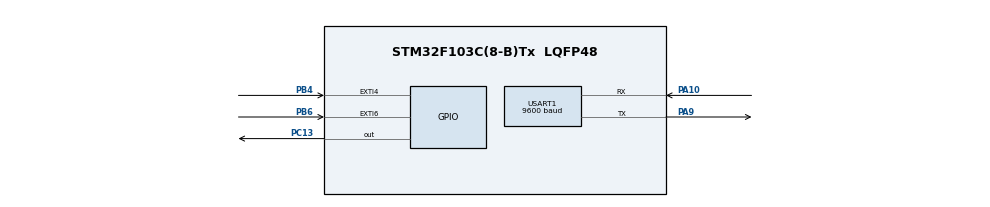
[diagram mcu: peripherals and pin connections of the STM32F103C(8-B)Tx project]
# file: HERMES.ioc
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Mcu.Family=STM32F1
Mcu.Name=STM32F103C(8-B)Tx
Mcu.Package=LQFP48
NVIC.EXTI4_IRQn=true\:0\:0\:false\:true\:true\:3\:true
NVIC.EXTI9_5_IRQn=true\:0\:0\:true\:true\:true\:2\:true
NVIC.PriorityGroup=NVIC_PRIORITYGROUP_4
NVIC.USART1_IRQn=true\:0\:0\:true\:true\:true\:1\:true
PA10.Mode=Asynchronous
PA10.Signal=USART1_RX
PA13.Mode=Serial_Wire
PA13.Signal=SYS_JTMS-SWDIO
PA14.Mode=Serial_Wire
PA14.Signal=SYS_JTCK-SWCLK
PA9.Mode=Asynchronous
PA9.Signal=USART1_TX
PB4.Signal=GPXTI4
PB6.Signal=GPXTI6
PC13-TAMPER-RTC.Signal=GPIO_Output
PD0-OSC_IN.Mode=HSE-External-Oscillator
PD0-OSC_IN.Signal=RCC_OSC_IN
PD1-OSC_OUT.Mode=HSE-External-Oscillator
PD1-OSC_OUT.Signal=RCC_OSC_OUT
ProjectManager.HeapSize=0x200
ProjectManager.StackSize=0x400
ProjectManager.TargetToolchain=TrueSTUDIO
RCC.APB1Freq_Value=8000000
RCC.APB2Freq_Value=8000000
RCC.PLLMUL=RCC_PLL_MUL16
RCC.USBFreq_Value=64000000
USART1.BaudRate=9600
USART1.Mode=MODE_TX
USART1.VirtualMode=VM_ASYNC
board=HERMES

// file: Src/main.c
/**
  ******************************************************************************
  * File Name          : main.c
  * Description        : Main program body
  ******************************************************************************
  ** This notice applies to any and all portions of this file
  * that are not between comment pairs USER CODE BEGIN and
  * USER CODE END. Other portions of this file, whether
  * inserted by the user or by software development tools
  * are owned by their respective copyright owners.
  *
  * COPYRIGHT(c) 2017 STMicroelectronics
  *
  * Redistribution and use in source and binary forms, with or without modification,
  * are permitted provided that the following conditions are met:
  *   1. Redistributions of source code must retain the above copyright notice,
  *      this list of conditions and the following disclaimer.
  *   2. Redistributions in binary form must reproduce the above copyright notice,
  *      this list of conditions and the following disclaimer in the documentation
  *      and/or other materials provided with the distribution.
  *   3. Neither the name of STMicroelectronics nor the names of its contributors
  *      may be used to endorse or promote products derived from this software
  *      without specific prior written permission.
  *
  * THIS SOFTWARE IS PROVIDED BY THE COPYRIGHT HOLDERS AND CONTRIBUTORS "AS IS"
  * AND ANY EXPRESS OR IMPLIED WARRANTIES, INCLUDING, BUT NOT LIMITED TO, THE
  * IMPLIED WARRANTIES OF MERCHANTABILITY AND FITNESS FOR A PARTICULAR PURPOSE ARE
  * DISCLAIMED. IN NO EVENT SHALL THE COPYRIGHT HOLDER OR CONTRIBUTORS BE LIABLE
  * FOR ANY DIRECT, INDIRECT, INCIDENTAL, SPECIAL, EXEMPLARY, OR CONSEQUENTIAL
  * DAMAGES (INCLUDING, BUT NOT LIMITED TO, PROCUREMENT OF SUBSTITUTE GOODS OR
  * SERVICES; LOSS OF USE, DATA, OR PROFITS; OR BUSINESS INTERRUPTION) HOWEVER
  * CAUSED AND ON ANY THEORY OF LIABILITY, WHETHER IN CONTRACT, STRICT LIABILITY,
  * OR TORT (INCLUDING NEGLIGENCE OR OTHERWISE) ARISING IN ANY WAY OUT OF THE USE
  * OF THIS SOFTWARE, EVEN IF ADVISED OF THE POSSIBILITY OF SUCH DAMAGE.
  *
  ******************************************************************************
  */

#include "main.h"
#include "stm32f1xx_hal.h"

/* USER CODE BEGIN Includes */
#include <string.h>
#include <math.h>
#include <float.h>
#define INIT_CHAR "&"
#define END_CHAR "#"
#define ACCURACY 1000
/* USER CODE END Includes */

UART_HandleTypeDef huart1;

/* USER CODE BEGIN PV */
/* Private variables ---------------------------------------------------------*/
unsigned int npuls = 0;//Número de pulsos que recebemos do sensor.
float fluxs = 0;//Fluxo de água.
/* USER CODE END PV */

void SystemClock_Config(void);
static void MX_GPIO_Init(void);
static void MX_USART1_UART_Init(void);
static void MX_NVIC_Init(void);

/* USER CODE BEGIN PFP */
/* Private function prototypes -----------------------------------------------*/

/* USER CODE END PFP */

/* USER CODE BEGIN 0 */
/**Função que envia os dados pelo bluetooth*/
void sendData(u_int8_t *message,int size){
	HAL_UART_Transmit(&huart1, (uint8_t *) INIT_CHAR,sizeof(INIT_CHAR), 100);
	HAL_UART_Transmit(&huart1, (uint8_t *) message,size, 100);
	while(HAL_UART_GetState(&huart1) != HAL_UART_STATE_READY);
	HAL_UART_Transmit(&huart1, (uint8_t *) END_CHAR,sizeof(END_CHAR) + sizeof(INIT_CHAR), 100);

}

//Retorna a fração de um double
int getFraction(double number){
	int intpart = (int)number;
	double decpart = (number - intpart)*ACCURACY;
	int dec =  (int)decpart;
	return dec;
}
//Retorna a parte inteira de um double
int getInteger(double number){
	return (int)number;
}

/**Função que envia os litros direto por bluetooth*/
void sendLitters(double number){
	char message[16];
	//	  int intpart = (int)number;
	int intpart = getInteger(number);
	//	  double decpart = (number - intpart)*10000;
	int fraction = getFraction(number);
	int len = sprintf(message, "%d.%03d", intpart, fraction);
	sendData((u_int8_t *)(&message),sizeof(len)+1);
}

//Retorna o número de litros gastos
double getLitters(int npulls){
	return npulls/450.0;
}
//Retorna o fluxo de água.
float flow(){
	fluxs = ((float)npuls)/7.5;
	npuls=0;
	return fluxs;
}

/* USER CODE END 0 */

int main(void)
{

  /* MCU Configuration----------------------------------------------------------*/

  /* Reset of all peripherals, Initializes the Flash interface and the Systick. */
  HAL_Init();

  /* Configure the system clock */
  SystemClock_Config();

  /* Initialize all configured peripherals */
  MX_GPIO_Init();
  MX_USART1_UART_Init();

  /* Initialize interrupts */
  MX_NVIC_Init();

  /* USER CODE BEGIN 2 */
	//  char message[] = "Welcome to bluetooth";

  /* USER CODE END 2 */

  /* Infinite loop */
	while (1)
	{

  /* USER CODE BEGIN 3 */
		//Somente quando temos a EXTI, ou seja, somente quando o sensor altera os pulsos, enviamos os dados por bluetooth.
		double litters = getLitters(npuls);
		sendLitters(litters);
		HAL_Delay(500);

	}
  /* USER CODE END 3 */

}

/** System Clock Configuration
*/
void SystemClock_Config(void)
{

  RCC_OscInitTypeDef RCC_OscInitStruct;
  RCC_ClkInitTypeDef RCC_ClkInitStruct;

    /**Initializes the CPU, AHB and APB busses clocks
    */
  RCC_OscInitStruct.OscillatorType = RCC_OSCILLATORTYPE_HSI;
  RCC_OscInitStruct.HSIState = RCC_HSI_ON;
  RCC_OscInitStruct.HSICalibrationValue = 16;
  RCC_OscInitStruct.PLL.PLLState = RCC_PLL_NONE;
  if (HAL_RCC_OscConfig(&RCC_OscInitStruct) != HAL_OK)
  {
    _Error_Handler(__FILE__, __LINE__);
  }

    /**Initializes the CPU, AHB and APB busses clocks
    */
  RCC_ClkInitStruct.ClockType = RCC_CLOCKTYPE_HCLK|RCC_CLOCKTYPE_SYSCLK
                              |RCC_CLOCKTYPE_PCLK1|RCC_CLOCKTYPE_PCLK2;
  RCC_ClkInitStruct.SYSCLKSource = RCC_SYSCLKSOURCE_HSI;
  RCC_ClkInitStruct.AHBCLKDivider = RCC_SYSCLK_DIV1;
  RCC_ClkInitStruct.APB1CLKDivider = RCC_HCLK_DIV1;
  RCC_ClkInitStruct.APB2CLKDivider = RCC_HCLK_DIV1;

  if (HAL_RCC_ClockConfig(&RCC_ClkInitStruct, FLASH_LATENCY_0) != HAL_OK)
  {
    _Error_Handler(__FILE__, __LINE__);
  }

    /**Configure the Systick interrupt time
    */
  HAL_SYSTICK_Config(HAL_RCC_GetHCLKFreq()/1000);

    /**Configure the Systick
    */
  HAL_SYSTICK_CLKSourceConfig(SYSTICK_CLKSOURCE_HCLK);

  /* SysTick_IRQn interrupt configuration */
  HAL_NVIC_SetPriority(SysTick_IRQn, 0, 0);
}

/** NVIC Configuration
*/
static void MX_NVIC_Init(void)
{
  /* USART1_IRQn interrupt configuration */
  HAL_NVIC_SetPriority(USART1_IRQn, 0, 0);
  HAL_NVIC_EnableIRQ(USART1_IRQn);
  /* EXTI9_5_IRQn interrupt configuration */
  HAL_NVIC_SetPriority(EXTI9_5_IRQn, 0, 0);
  HAL_NVIC_EnableIRQ(EXTI9_5_IRQn);
  /* EXTI4_IRQn interrupt configuration */
  HAL_NVIC_SetPriority(EXTI4_IRQn, 0, 0);
  HAL_NVIC_EnableIRQ(EXTI4_IRQn);
}

/* USART1 init function */
static void MX_USART1_UART_Init(void)
{

  huart1.Instance = USART1;
  huart1.Init.BaudRate = 9600;
  huart1.Init.WordLength = UART_WORDLENGTH_8B;
  huart1.Init.StopBits = UART_STOPBITS_1;
  huart1.Init.Parity = UART_PARITY_NONE;
  huart1.Init.Mode = UART_MODE_TX;
  huart1.Init.HwFlowCtl = UART_HWCONTROL_NONE;
  huart1.Init.OverSampling = UART_OVERSAMPLING_16;
  if (HAL_UART_Init(&huart1) != HAL_OK)
  {
    _Error_Handler(__FILE__, __LINE__);
  }

}

/** Configure pins as
        * Analog
        * Input
        * Output
        * EVENT_OUT
        * EXTI
*/
static void MX_GPIO_Init(void)
{

  GPIO_InitTypeDef GPIO_InitStruct;

  /* GPIO Ports Clock Enable */
  __HAL_RCC_GPIOC_CLK_ENABLE();
  __HAL_RCC_GPIOD_CLK_ENABLE();
  __HAL_RCC_GPIOA_CLK_ENABLE();
  __HAL_RCC_GPIOB_CLK_ENABLE();

  /*Configure GPIO pin Output Level */
  HAL_GPIO_WritePin(GPIOC, GPIO_PIN_13, GPIO_PIN_RESET);

  /*Configure GPIO pin : PC13 */
  GPIO_InitStruct.Pin = GPIO_PIN_13;
  GPIO_InitStruct.Mode = GPIO_MODE_OUTPUT_PP;
  GPIO_InitStruct.Speed = GPIO_SPEED_FREQ_LOW;
  HAL_GPIO_Init(GPIOC, &GPIO_InitStruct);

  /*Configure GPIO pins : PB4 PB6 */
  GPIO_InitStruct.Pin = GPIO_PIN_4|GPIO_PIN_6;
  GPIO_InitStruct.Mode = GPIO_MODE_IT_RISING;
  GPIO_InitStruct.Pull = GPIO_NOPULL;
  HAL_GPIO_Init(GPIOB, &GPIO_InitStruct);

}

/* USER CODE BEGIN 4 */

//Iterrupt porta pb6 e pb4
void HAL_GPIO_EXTI_Callback(uint16_t GPIO_Pin){
	npuls++;
	HAL_GPIO_TogglePin(GPIOC,GPIO_PIN_13);
//	//Somente quando temos a EXTI, ou seja, somente quando o sensor altera os pulsos, enviamos os dados por bluetooth.
//	double litters = getLitters(npuls);
//	sendLitters(litters);
}

/* USER CODE END 4 */

void _Error_Handler(char * file, int line)
{
	while(1)
	{
	}
}

/************************ (C) COPYRIGHT STMicroelectronics *****END OF FILE****/
